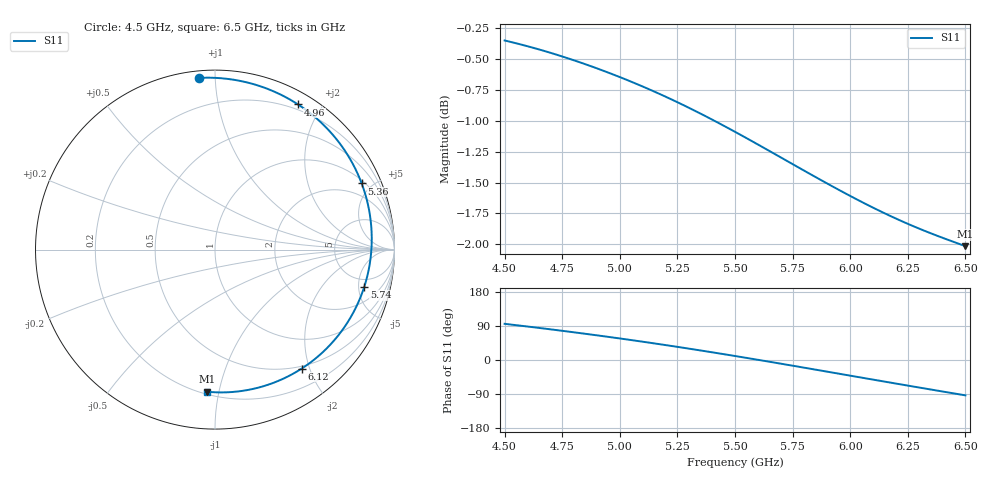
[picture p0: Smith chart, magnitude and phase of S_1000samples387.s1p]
! TOUCHSTONE file generated by CST MICROWAVE STUDIO
! Date and time: Fri Oct 28 00:02:28 2022
! Project name: L.cst
! Parameters = {Di=1.27; Epsilon_r=1.56; InnerDiameter=1.27; Length=2; Lf=10; Lg=60; OuterConductorThickness=0.2921; OuterDiameter=3.6; Wf=3; Wp=41.2; de=1.5; df=6.8; g=0.8; gx=3.41848; gy=4.07994; h=2.34; hf=1.524; px=10.132; py=12.6185; w=9.7; wx=6.71357; wy=8.53856}
! Header version: 2018
! Port assignment regex: !\s*Touchstone port\s*([0-9]+)\s*=\s*(CST MWS port|CST DS port)\s*([0-9]+|Zmin|Zmax)\s*\(\"(.*)\"\)(\s*mode\s*([0-9]+))?.*
! Touchstone port assignment:
! Touchstone port 1 = CST MWS port 1 ("")
# GHz S DB R 50
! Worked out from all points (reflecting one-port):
!   101 points, 4.5 GHz to 6.5 GHz, reference 50 ohm
!   lowest |S11| = -2.0 dB at 6.5 GHz (marker M1), VSWR 8.66, Z = 10.8 - j46 ohm
!   phase of S11 starts at 95 deg and turns -189 deg over the sweep
!   S11 on the Smith chart (normalised r, x): 4.5 GHz: 0.04, +0.91; 4.96 GHz: 0.14, +1.72; 5.36 GHz: 1.16, +4.36; 5.74 GHz: 3.73, -5.82; 6.12 GHz: 0.46, -1.88; 6.5 GHz: 0.22, -0.92
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4.5  -0.35 95.4
4.64  -0.42 85.4
4.76  -0.48 76.3
4.86  -0.55 68.4
4.96  -0.62 60.2
5  -0.64 56.8
5.12  -0.74 46.4
5.18  -0.79 41.1
5.26  -0.86 33.7
5.36  -0.95 24.3
5.44  -1.03 16.5
5.5  -1.09 10.6
5.56  -1.15 4.5
5.62  -1.21 -1.6
5.68  -1.28 -7.7
5.74  -1.34 -14.0
5.76  -1.36 -16.1
5.82  -1.42 -22.3
5.88  -1.49 -28.6
6  -1.61 -41.3
6.06  -1.67 -47.6
6.12  -1.72 -53.9
6.2  -1.79 -62.3
6.26  -1.84 -68.6
6.32  -1.89 -74.8
6.38  -1.93 -81.0
6.44  -1.97 -87.1
6.5  -2.02 -93.3
